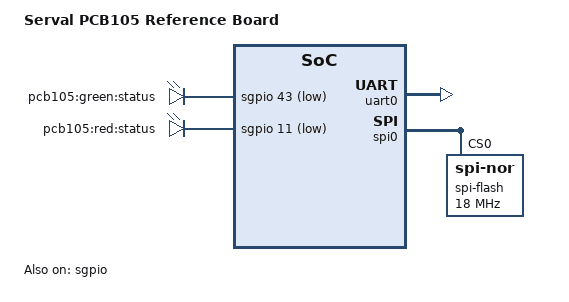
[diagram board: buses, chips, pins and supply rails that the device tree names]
// SPDX-License-Identifier: (GPL-2.0+ OR MIT)
/*
 * Copyright (c) 2018 Microsemi Corporation
 */

/dts-v1/;
#include "mscc,serval.dtsi"

/ {
	model = "Serval PCB105 Reference Board";
	compatible = "mscc,serval-pcb105", "mscc,serval";

	aliases {
		spi0 = &spi0;
		serial0 = &uart0;
	};

	chosen {
		stdout-path = "serial0:115200n8";
	};

	gpio-leds {
		compatible = "gpio-leds";

		status_green {
			label = "pcb105:green:status";
			gpios = <&sgpio 43 1>; /* p11.1 */
			default-state = "on";
		};

		status_red {
			label = "pcb105:red:status";
			gpios = <&sgpio 11 1>; /* p11.0 */
			default-state = "off";
		};
	};
};

&uart0 {
	status = "okay";
};

&spi0 {
	status = "okay";
	spi-flash@0 {
		compatible = "jedec,spi-nor";
		spi-max-frequency = <18000000>; /* input clock */
		reg = <0>; /* CS0 */
		spi-cs-high;
	};
};

&sgpio {
	status = "okay";
	sgpio-ports = <0x00FFFFFF>;
};
